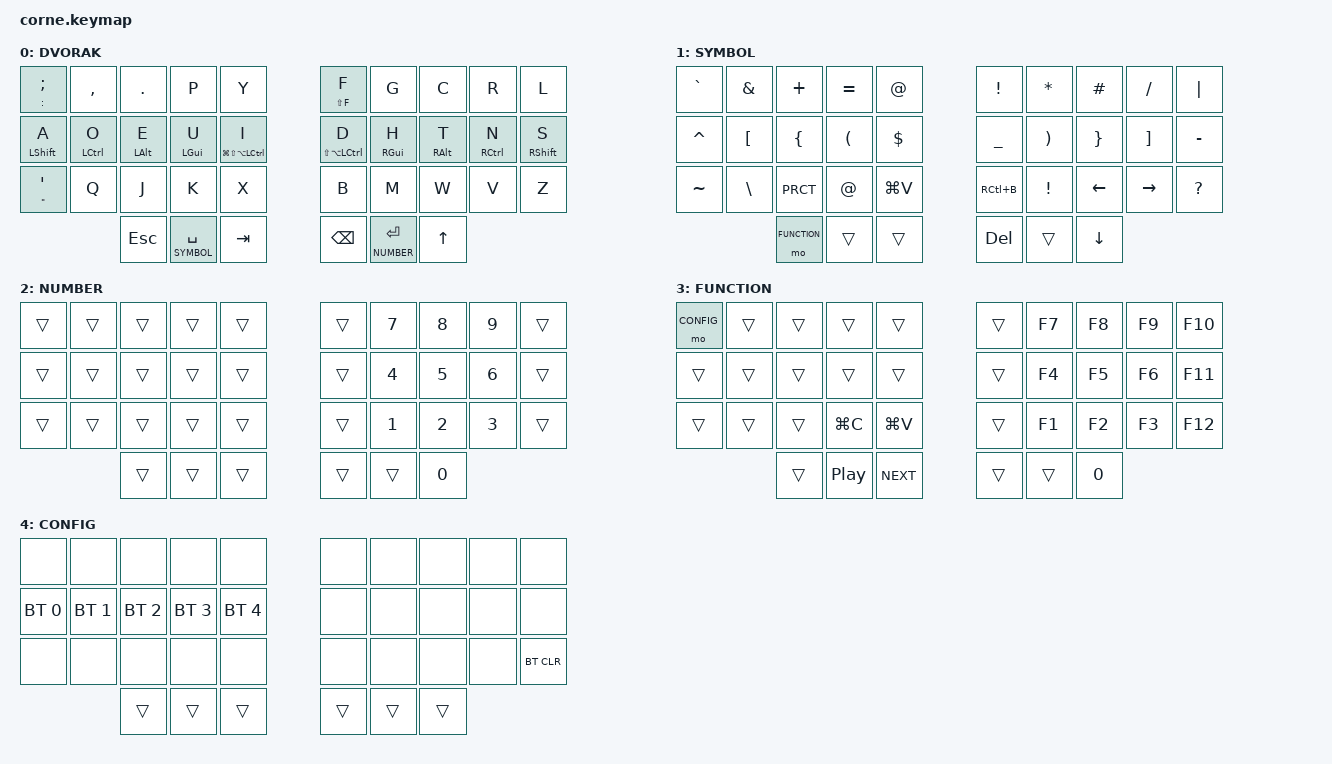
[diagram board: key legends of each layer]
/*
 * Copyright (c) 2020 The ZMK Contributors
 *
 * SPDX-License-Identifier: MIT
 */

#include <behaviors.dtsi>
#include <dt-bindings/zmk/keys.h>
#include <dt-bindings/zmk/bt.h>

#define DVORAK 0
#define SYMBOL 1
#define NUMBER 2
#define FUNCTION 3

#define CONFIG 4

&lt { quick_tap_ms = <250>; };

/ {
  chosen {
    zmk,matrix_transform = &five_column_transform;
  };
};

/ {
        behaviors {
            hm: homerow_mods {
                compatible = "zmk,behavior-hold-tap";
                label = "HOMEROW_MODS";
                #binding-cells = <2>;
                tapping-term-ms = <225>;
                quick_tap_ms = <250>;
                flavor = "tap-preferred";
                bindings = <&kp>, <&kp>;
            };

           hold: hold {
                compatible = "zmk,behavior-hold-tap";
                label = "HOLD";
                #binding-cells = <2>;
                tapping-term-ms = <225>;
                flavor = "hold-preferred";
                bindings = <&kp>, <&kp>;
            };
        };
        keymap {
                compatible = "zmk,keymap";

                default_layer {
                        display-name = "DVORAK";
                        bindings = <
    &hold COLON SEMI   &kp COMMA   &kp DOT    &kp P      &kp Y                         &hm LS(F) F         &kp G      &kp C         &kp R        &kp L       
    &hm   LSHIFT A     &hm LCTRL O &hm LALT E &hm LGUI U &hm LG(LS(LA(LCTRL))) I       &hm LS(LA(LCTRL)) D &hm RGUI H &hm RALT T    &hm RCTRL N  &hm RSHIFT S
    &hold DQT SQT      &kp Q       &kp J      &kp K      &kp X                         &kp B               &kp M      &kp W         &kp V        &kp Z
                                 &kp ESC   &lt SYMBOL SPC     &kp TAB         &kp BSPC   &lt NUMBER ENTER &kp UP
                        >;
                };
                symbol_layer {
                        display-name = "SYMBOL";
                        bindings = <
   &kp GRAVE &kp AMPS &kp PLUS &kp EQUAL &kp AT        &kp EXCL    &kp ASTRK &kp HASH &kp SLASH &kp PIPE 
   &kp CARET &kp LBKT &kp LBRC &kp LPAR  &kp DLLR      &kp UNDER   &kp RPAR  &kp RBRC &kp RBKT  &kp MINUS
   &kp TILDE &kp BSLH &kp PRCT &kp AT    &kp LG(V)     &kp RC(B)   &kp EXCL  &kp LEFT &kp RIGHT &kp QMARK
                                 &mo FUNCTION &trans &trans    &kp DEL &trans &kp DOWN
                        >;
                };

                number_layer {
                        label = "NUMBER";
                        bindings = <
   &trans &trans  &trans &trans  &trans     &trans   &kp N7   &kp N8  &kp N9   &trans
   &trans &trans  &trans &trans  &trans     &trans   &kp N4   &kp N5  &kp N6   &trans
   &trans &trans  &trans &trans  &trans     &trans   &kp N1   &kp N2  &kp N3   &trans
                           &trans &trans &trans     &trans &trans &kp N0
                        >;
                };

                function_layer {
                        label = "FUNCTION";
                        bindings = <
   &mo CONFIG  &trans  &trans  &trans     &trans        &trans   &kp F7   &kp F8  &kp F9   &kp F10
   &trans      &trans  &trans  &trans     &trans        &trans   &kp F4   &kp F5  &kp F6   &kp F11
   &trans      &trans  &trans  &kp LG(C)  &kp LG(V)     &trans   &kp F1   &kp F2  &kp F3   &kp F12
                           &trans &kp C_PP &kp C_NEXT     &trans &trans &kp N0
                        >;
                };

                config_layer {
                        label = "CONFIG";
                        bindings = <
   &none         &none        &none        &none        &none           &none &none &none &none &none
   &bt BT_SEL 0  &bt BT_SEL 1 &bt BT_SEL 2 &bt BT_SEL 3 &bt BT_SEL 4    &none &none &none &none &none
   &none         &none        &none        &none        &none           &none &none &none &none &bt BT_CLR
                                &trans &trans &trans    &trans &trans &trans
                        >;
                };
        };
};
